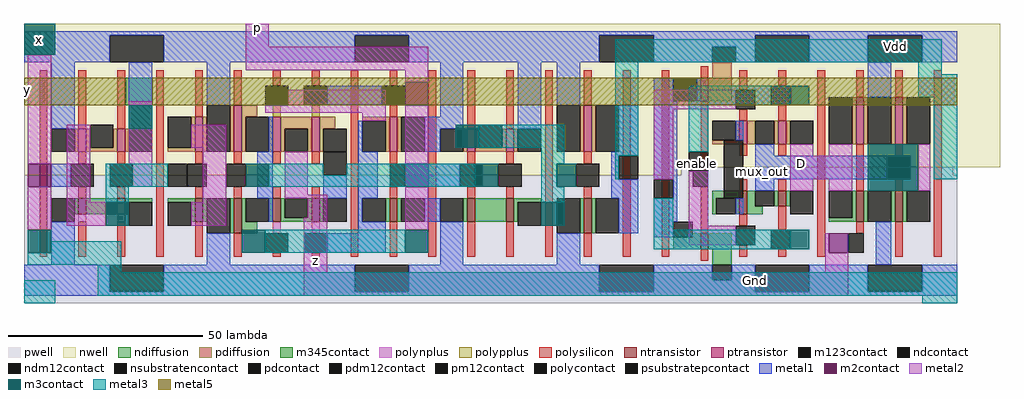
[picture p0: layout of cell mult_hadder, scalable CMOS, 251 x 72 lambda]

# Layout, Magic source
magic
tech scmos
<< nwell >>
rect 6 42 257 79
rect 6 40 175 42
<< pwell >>
rect 175 40 245 42
rect 6 7 246 40
<< ntransistor >>
rect 20 30 22 34
rect 30 30 32 34
rect 50 28 52 34
rect 60 25 62 34
rect 70 28 72 34
rect 80 28 82 34
rect 100 28 102 34
rect 120 28 122 34
rect 130 28 132 34
rect 150 25 152 34
rect 190 30 192 36
rect 200 32 202 36
rect 180 21 182 25
rect 220 28 222 36
rect 230 28 232 36
<< ptransistor >>
rect 20 46 22 52
rect 30 46 32 52
rect 50 46 52 55
rect 60 46 62 58
rect 70 46 72 55
rect 80 46 82 55
rect 100 46 102 55
rect 120 46 122 52
rect 130 46 132 52
rect 150 46 152 58
rect 180 59 182 65
rect 190 48 192 54
rect 200 48 202 54
rect 220 48 222 60
rect 230 48 232 60
<< ndiffusion >>
rect 19 30 20 34
rect 22 30 30 34
rect 32 33 39 34
rect 32 30 33 33
rect 43 33 50 34
rect 49 28 50 33
rect 52 28 53 34
rect 59 25 60 34
rect 62 28 63 34
rect 69 28 70 34
rect 72 29 73 34
rect 79 29 80 34
rect 72 28 80 29
rect 82 28 83 34
rect 62 25 66 28
rect 99 28 100 34
rect 102 28 103 34
rect 119 28 120 34
rect 122 28 130 34
rect 132 33 139 34
rect 132 28 133 33
rect 149 25 150 34
rect 152 25 153 34
rect 183 34 190 36
rect 183 30 184 34
rect 189 30 190 34
rect 192 32 194 36
rect 199 32 200 36
rect 202 32 203 36
rect 192 30 196 32
rect 178 24 180 25
rect 173 21 180 24
rect 182 21 188 25
rect 183 17 188 21
rect 219 29 220 36
rect 213 28 220 29
rect 222 28 223 36
rect 229 28 230 36
rect 232 28 233 36
<< pdiffusion >>
rect 19 46 20 52
rect 22 47 23 52
rect 29 47 30 52
rect 22 46 30 47
rect 32 46 33 52
rect 49 47 50 55
rect 43 46 50 47
rect 52 46 53 55
rect 59 46 60 58
rect 62 55 66 58
rect 62 46 63 55
rect 69 46 70 55
rect 72 52 80 55
rect 72 46 73 52
rect 79 46 80 52
rect 82 52 86 55
rect 82 46 83 52
rect 93 54 100 55
rect 99 46 100 54
rect 102 46 103 55
rect 119 46 120 52
rect 122 47 123 52
rect 129 47 130 52
rect 122 46 130 47
rect 132 46 133 52
rect 149 46 150 58
rect 152 46 153 58
rect 183 65 188 69
rect 179 59 180 65
rect 182 59 188 65
rect 189 49 190 54
rect 183 48 190 49
rect 192 48 194 54
rect 199 48 200 54
rect 202 48 203 54
rect 219 48 220 60
rect 222 48 223 60
rect 229 48 230 60
rect 232 48 233 60
<< ndcontact >>
rect 13 28 19 34
rect 53 25 59 34
rect 63 28 69 34
rect 83 28 89 34
rect 93 28 99 34
rect 103 28 109 34
rect 113 28 119 34
rect 143 25 149 34
rect 153 25 159 34
rect 173 24 178 28
rect 184 30 189 34
rect 194 32 199 36
rect 223 28 229 36
rect 183 13 188 17
<< pdcontact >>
rect 183 69 189 73
rect 13 46 19 52
rect 33 46 39 52
rect 53 46 59 58
rect 63 46 69 55
rect 83 46 89 52
rect 103 46 109 55
rect 113 46 119 52
rect 133 46 139 52
rect 143 46 149 58
rect 153 46 159 58
rect 173 59 179 65
rect 183 49 189 54
rect 194 48 199 54
rect 223 48 229 60
<< psubstratepcontact >>
rect 28 10 42 17
rect 91 10 105 17
rect 154 10 168 17
rect 194 10 208 17
rect 223 10 237 17
<< nsubstratencontact >>
rect 28 69 42 76
rect 91 69 105 76
rect 154 69 168 76
rect 194 69 208 76
rect 223 69 237 76
<< polysilicon >>
rect 10 19 12 67
rect 20 52 22 67
rect 30 52 32 67
rect 20 43 22 46
rect 30 43 32 46
rect 20 34 22 37
rect 30 34 32 37
rect 20 19 22 28
rect 30 19 32 28
rect 40 19 42 67
rect 50 55 52 67
rect 60 58 62 67
rect 70 63 72 67
rect 80 63 82 67
rect 50 43 52 46
rect 60 43 62 46
rect 70 43 72 46
rect 80 43 82 46
rect 50 34 52 37
rect 60 34 62 37
rect 70 34 72 37
rect 80 34 82 37
rect 50 19 52 28
rect 60 19 62 25
rect 70 19 72 20
rect 80 19 82 20
rect 90 19 92 67
rect 100 63 102 67
rect 100 55 102 58
rect 100 43 102 46
rect 100 34 102 37
rect 100 19 102 28
rect 110 19 112 67
rect 120 52 122 67
rect 130 52 132 67
rect 120 43 122 46
rect 130 43 132 46
rect 120 34 122 37
rect 130 34 132 37
rect 120 19 122 28
rect 130 19 132 28
rect 140 19 142 67
rect 150 58 152 67
rect 150 43 152 46
rect 150 34 152 37
rect 150 19 152 25
rect 160 19 162 67
rect 170 19 172 67
rect 180 65 182 68
rect 190 62 192 67
rect 200 63 202 67
rect 180 41 182 59
rect 190 54 192 57
rect 200 54 202 58
rect 190 45 192 48
rect 200 45 202 48
rect 180 25 182 37
rect 190 36 192 39
rect 200 36 202 39
rect 190 27 192 30
rect 200 26 202 32
rect 180 18 182 21
rect 190 19 192 22
rect 200 19 202 21
rect 210 19 212 67
rect 220 60 222 67
rect 230 60 232 67
rect 220 36 222 48
rect 230 45 232 48
rect 230 36 232 39
rect 220 25 222 28
rect 230 19 232 28
rect 240 19 242 67
<< polycontact >>
rect 18 37 24 43
rect 78 58 84 63
rect 48 37 53 43
rect 78 20 84 25
rect 98 58 104 63
rect 100 37 104 43
rect 118 37 124 43
rect 178 37 182 41
rect 228 39 234 45
rect 218 20 222 25
<< polypplus >>
rect 70 55 72 58
rect 80 55 82 58
<< polynplus >>
rect 20 28 22 30
rect 30 28 32 30
rect 70 25 72 28
rect 80 25 82 28
<< metal1 >>
rect 6 76 246 77
rect 6 69 28 76
rect 42 69 91 76
rect 105 69 154 76
rect 168 73 194 76
rect 168 69 183 73
rect 189 69 194 73
rect 208 69 223 76
rect 237 69 246 76
rect 13 52 19 69
rect 33 52 39 69
rect 53 58 59 69
rect 84 58 98 63
rect 113 55 119 69
rect 69 46 70 55
rect 13 37 18 43
rect 66 34 70 46
rect 83 34 89 40
rect 13 17 19 28
rect 69 28 70 34
rect 92 46 93 54
rect 109 52 119 55
rect 109 46 113 52
rect 133 52 139 69
rect 143 58 149 69
rect 168 59 173 65
rect 179 59 180 65
rect 159 46 164 58
rect 92 34 97 46
rect 157 45 164 46
rect 110 37 118 43
rect 157 39 159 45
rect 157 34 164 39
rect 92 28 93 34
rect 109 28 113 34
rect 92 25 99 28
rect 53 17 59 25
rect 84 20 99 25
rect 113 17 119 28
rect 159 25 164 34
rect 168 39 174 59
rect 223 60 229 69
rect 189 49 191 54
rect 173 34 174 39
rect 168 28 174 34
rect 189 30 191 34
rect 194 45 199 48
rect 194 39 228 45
rect 194 36 199 39
rect 143 17 149 25
rect 168 24 173 28
rect 225 17 229 28
rect 6 10 28 17
rect 42 10 91 17
rect 105 10 154 17
rect 168 13 183 17
rect 188 13 194 17
rect 168 10 194 13
rect 208 10 223 17
rect 237 10 246 17
rect 6 9 246 10
<< m2contact >>
rect 104 58 110 64
rect 7 37 13 43
rect 104 37 110 43
rect 213 20 218 25
<< pm12contact >>
rect 68 58 74 63
rect 28 37 34 43
rect 58 37 63 43
rect 128 37 134 43
rect 148 37 154 43
rect 68 20 74 25
rect 189 57 194 62
rect 198 58 203 63
rect 189 22 194 27
rect 198 21 203 26
<< pdm12contact >>
rect 23 47 29 53
rect 43 47 49 55
rect 73 46 79 52
rect 93 46 99 54
rect 123 47 129 53
rect 203 48 209 54
rect 213 48 219 60
rect 233 48 239 60
<< ndm12contact >>
rect 33 27 39 33
rect 43 27 49 33
rect 73 29 79 34
rect 133 27 139 33
rect 203 30 209 36
rect 213 29 219 36
rect 233 28 239 36
<< metal2 >>
rect 63 73 69 79
rect 7 43 13 71
rect 63 67 110 73
rect 104 64 110 67
rect 33 58 39 59
rect 7 26 13 37
rect 17 33 23 53
rect 74 58 99 62
rect 68 56 99 58
rect 33 43 39 52
rect 93 54 99 56
rect 49 47 58 53
rect 34 37 39 43
rect 52 33 58 47
rect 17 27 27 33
rect 49 27 58 33
rect 73 35 79 46
rect 104 43 110 58
rect 168 57 189 62
rect 168 39 173 57
rect 73 34 84 35
rect 79 29 84 34
rect 78 15 84 29
rect 104 26 110 37
rect 177 27 182 41
rect 203 45 209 48
rect 213 45 219 48
rect 203 39 219 45
rect 203 36 209 39
rect 213 36 219 39
rect 236 36 239 48
rect 177 22 189 27
rect 212 20 213 25
rect 212 15 218 20
rect 78 9 218 15
<< m3contact >>
rect 6 71 14 79
rect 33 52 39 58
rect 63 37 69 43
rect 27 27 33 33
rect 203 58 208 63
rect 117 47 123 53
rect 122 37 128 43
rect 143 37 148 43
rect 7 20 13 26
rect 62 20 68 26
rect 139 27 145 33
rect 223 36 236 48
rect 104 20 110 26
rect 203 21 208 26
<< m123contact >>
rect 43 37 48 43
rect 83 40 89 46
rect 159 39 164 45
rect 168 34 173 39
rect 177 41 182 46
rect 186 34 191 49
<< metal3 >>
rect 158 69 242 75
rect 123 47 145 53
rect 27 37 43 43
rect 69 40 83 43
rect 139 43 145 47
rect 158 45 164 69
rect 236 66 242 69
rect 89 40 122 43
rect 69 37 122 40
rect 139 37 143 43
rect 158 39 159 45
rect 177 58 203 63
rect 236 60 246 66
rect 177 46 182 58
rect 27 33 33 37
rect 139 33 145 37
rect 240 39 246 60
rect 168 26 173 34
rect 13 20 31 23
rect 68 20 104 26
rect 168 21 203 26
rect 7 17 31 20
rect 25 15 31 17
rect 6 7 14 13
rect 25 9 246 15
rect 237 7 246 9
<< m345contact >>
rect 32 58 39 65
<< metal5 >>
rect 6 58 32 65
rect 39 58 246 65
<< labels >>
rlabel nsubstratencontact 230 73 230 73 7 Vdd
rlabel metal5 7 62 7 62 3 y
rlabel m123contact 179 43 179 43 1 enable
rlabel metal1 194 13 194 13 1 Gnd
rlabel metal1 196 41 196 41 1 mux_out
rlabel metal2 206 43 206 43 1 D
rlabel m3contact 10 75 10 75 3 x
rlabel metal2 81 18 81 18 1 z
rlabel metal2 66 78 66 78 5 p
<< end >>
